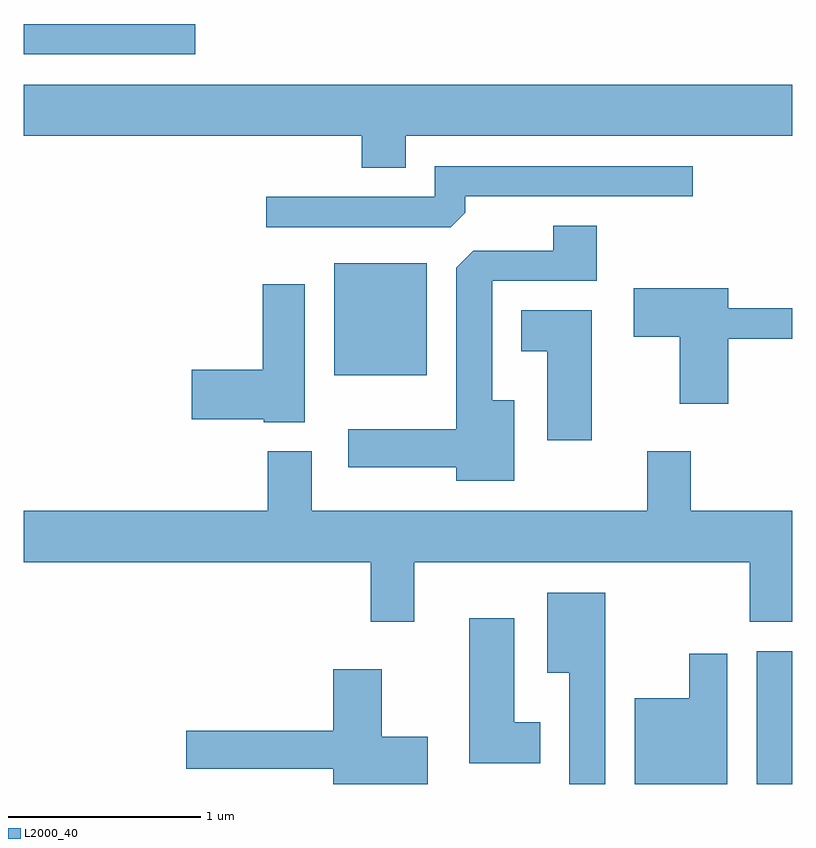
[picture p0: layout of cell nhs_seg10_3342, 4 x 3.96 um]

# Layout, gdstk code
import gdstk
lib = gdstk.Library(unit=1e-6, precision=1e-09)
def R(c, l, rs):  # rectangles x0, y0, x1, y1
    for r in rs: c.add(gdstk.rectangle(r[:2], r[2:], *l))
def P(c, l, *ps):  # polygons
    for p in ps: c.add(gdstk.Polygon(p, *l))
L2000_40 = (2000, 40)

nhs_seg10_3342 = lib.new_cell('nhs_seg10_3342')
R(nhs_seg10_3342, L2000_40, [(287.426,2130.522,287.611,2131.214), (285.226,2132.651,285.709,2133.234), (283.611,2134.321,284.503,2134.479)])
P(nhs_seg10_3342, L2000_40, [(285.599,2133.896),(287.611,2133.896),(287.611,2134.164),(283.611,2134.164),(283.611,2133.896),(285.371,2133.896),(285.371,2133.731),(285.599,2133.731)],
  [(285.909,2133.497),(285.909,2133.581),(287.093,2133.581),(287.093,2133.739),(285.751,2133.739),(285.751,2133.579),(284.873,2133.579),(284.873,2133.421),(285.834,2133.421)],
  [(286.164,2132.519),(286.049,2132.519),(286.049,2133.141),(286.594,2133.141),(286.594,2133.429),(286.366,2133.429),(286.366,2133.299),(285.952,2133.299),(285.861,2133.209),(285.861,2132.369),(285.301,2132.369),(285.301,2132.171),(285.861,2132.171),(285.861,2132.101),(286.164,2132.101)],
  [(285.074,2133.124),(284.856,2133.124),(284.856,2132.679),(284.486,2132.679),(284.486,2132.421),(284.86,2132.421),(284.86,2132.406),(285.074,2132.406)],
  [(287.279,2132.841),(287.611,2132.841),(287.611,2132.999),(287.279,2132.999),(287.279,2133.104),(286.786,2133.104),(286.786,2132.851),(287.026,2132.851),(287.026,2132.501),(287.279,2132.501)],
  [(286.569,2132.989),(286.201,2132.989),(286.201,2132.776),(286.336,2132.776),(286.336,2132.311),(286.569,2132.311)],
  [(285.644,2131.676),(287.391,2131.676),(287.391,2131.366),(287.611,2131.366),(287.611,2131.944),(287.084,2131.944),(287.084,2132.254),(286.856,2132.254),(286.856,2131.944),(285.109,2131.944),(285.109,2132.254),(284.881,2132.254),(284.881,2131.944),(283.611,2131.944),(283.611,2131.676),(285.416,2131.676),(285.416,2131.366),(285.644,2131.366)],
  [(286.639,2131.519),(286.336,2131.519),(286.336,2131.101),(286.451,2131.101),(286.451,2130.522),(286.639,2130.522)],
  [(286.299,2130.844),(286.164,2130.844),(286.164,2131.384),(285.931,2131.384),(285.931,2130.631),(286.299,2130.631)],
  [(287.274,2131.199),(287.076,2131.199),(287.076,2130.969),(286.791,2130.969),(286.791,2130.522),(287.274,2130.522)],
  [(285.714,2130.769),(285.474,2130.769),(285.474,2131.119),(285.221,2131.119),(285.221,2130.799),(284.456,2130.799),(284.456,2130.601),(285.221,2130.601),(285.221,2130.522),(285.714,2130.522)])

lib.write_gds('nhs_seg10_3342.gds')
